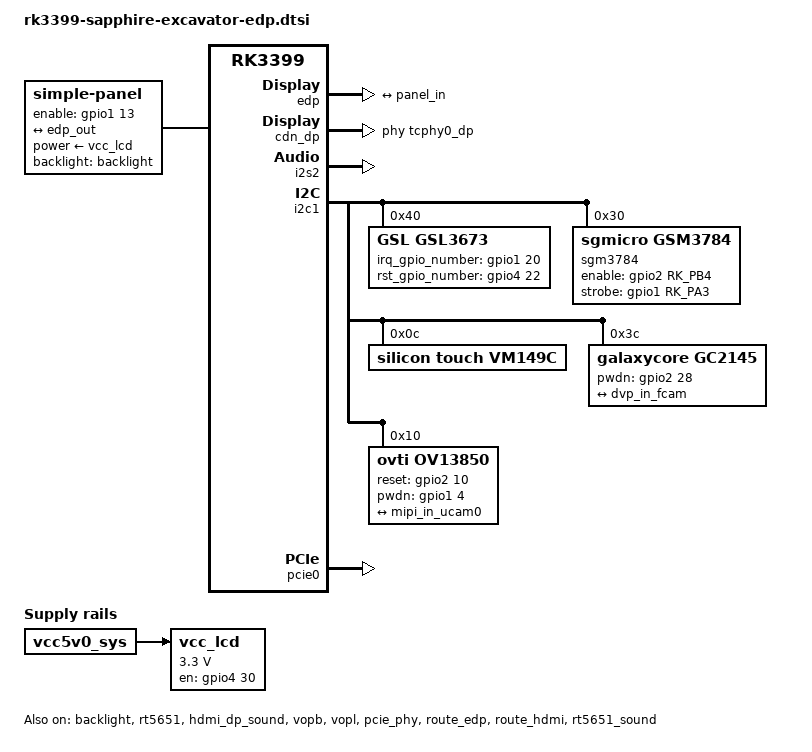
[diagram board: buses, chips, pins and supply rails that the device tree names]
/*
 * Copyright (c) 2018 Fuzhou Rockchip Electronics Co., Ltd
 *
 * This file is dual-licensed: you can use it either under the terms
 * of the GPL or the X11 license, at your option. Note that this dual
 * licensing only applies to this file, and not this project as a
 * whole.
 *
 *  a) This file is free software; you can redistribute it and/or
 *     modify it under the terms of the GNU General Public License as
 *     published by the Free Software Foundation; either version 2 of the
 *     License, or (at your option) any later version.
 *
 *     This file is distributed in the hope that it will be useful,
 *     but WITHOUT ANY WARRANTY; without even the implied warranty of
 *     MERCHANTABILITY or FITNESS FOR A PARTICULAR PURPOSE.  See the
 *     GNU General Public License for more details.
 *
 * Or, alternatively,
 *
 *  b) Permission is hereby granted, free of charge, to any person
 *     obtaining a copy of this software and associated documentation
 *     files (the "Software"), to deal in the Software without
 *     restriction, including without limitation the rights to use,
 *     copy, modify, merge, publish, distribute, sublicense, and/or
 *     sell copies of the Software, and to permit persons to whom the
 *     Software is furnished to do so, subject to the following
 *     conditions:
 *
 *     The above copyright notice and this permission notice shall be
 *     included in all copies or substantial portions of the Software.
 *
 *     THE SOFTWARE IS PROVIDED "AS IS", WITHOUT WARRANTY OF ANY KIND,
 *     EXPRESS OR IMPLIED, INCLUDING BUT NOT LIMITED TO THE WARRANTIES
 *     OF MERCHANTABILITY, FITNESS FOR A PARTICULAR PURPOSE AND
 *     NONINFRINGEMENT. IN NO EVENT SHALL THE AUTHORS OR COPYRIGHT
 *     HOLDERS BE LIABLE FOR ANY CLAIM, DAMAGES OR OTHER LIABILITY,
 *     WHETHER IN AN ACTION OF CONTRACT, TORT OR OTHERWISE, ARISING
 *     FROM, OUT OF OR IN CONNECTION WITH THE SOFTWARE OR THE USE OR
 *     OTHER DEALINGS IN THE SOFTWARE.
 */

/dts-v1/;

#include "rk3399-excavator-sapphire.dtsi"
#include "rk3399-android.dtsi"
#include "rk3399-vop-clk-set.dtsi"

/ {
	vcc_lcd: vcc-lcd {
		compatible = "regulator-fixed";
		regulator-name = "vcc_lcd";
		gpio = <&gpio4 30 GPIO_ACTIVE_HIGH>;
		startup-delay-us = <20000>;
		enable-active-high;
		regulator-min-microvolt = <3300000>;
		regulator-max-microvolt = <3300000>;
		regulator-boot-on;
		vin-supply = <&vcc5v0_sys>;
	};

	panel: panel {
		compatible = "simple-panel";
		backlight = <&backlight>;
		power-supply = <&vcc_lcd>;
		enable-gpios = <&gpio1 13 GPIO_ACTIVE_HIGH>;
		prepare-delay-ms = <20>;
		enable-delay-ms = <20>;

		display-timings {
			native-mode = <&timing0>;

			timing0: timing0 {
				clock-frequency = <200000000>;
				hactive = <1536>;
				vactive = <2048>;
				hfront-porch = <12>;
				hsync-len = <16>;
				hback-porch = <48>;
				vfront-porch = <8>;
				vsync-len = <4>;
				vback-porch = <8>;
				hsync-active = <0>;
				vsync-active = <0>;
				de-active = <0>;
				pixelclk-active = <0>;
			};
		};

		ports {
			panel_in: endpoint {
				remote-endpoint = <&edp_out>;
			};
		};
	};

	test-power {
		status = "okay";
	};

	hdmiin_sound: hdmiin-sound {
		compatible = "rockchip,rockchip-rt5651-sound";
		rockchip,cpu = <&i2s0>;
		rockchip,codec = <&rt5651 &rt5651>;
		status = "okay";
	};
};

&backlight {
	status = "okay";
	enable-gpios = <&gpio4 29 GPIO_ACTIVE_HIGH>;
};

&edp {
	status = "okay";
	force-hpd;

	ports {
		port@1 {
			reg = <1>;

			edp_out: endpoint {
				remote-endpoint = <&panel_in>;
			};
		};
	};
};

&edp_in_vopl {
	status = "disabled";
};

&hdmi_in_vopb {
	status = "disabled";
};

&rt5651 {
	status = "okay";
};

&cdn_dp {
	status = "okay";
	extcon = <&fusb0>;
	phys = <&tcphy0_dp>;
};

&hdmi_dp_sound {
	status = "okay";
};

&hdmiin_sound {
	status = "disabled";
};

&dp_in_vopb {
	status = "disabled";
};

&i2s2 {
	status = "okay";
};

&i2c1 {
	status = "okay";

	gsl3673: gsl3673@40 {
		compatible = "GSL,GSL3673";
		reg = <0x40>;
		screen_max_x = <1536>;
		screen_max_y = <2048>;
		irq_gpio_number = <&gpio1 20 IRQ_TYPE_LEVEL_LOW>;
		rst_gpio_number = <&gpio4 22 GPIO_ACTIVE_HIGH>;
	};

	sgm3784: sgm3784@30 {
		#address-cells = <1>;
		#size-cells = <0>;
		compatible = "sgmicro,gsm3784";
		reg = <0x30>;
		rockchip,camera-module-index = <0>;
		rockchip,camera-module-facing = "back";
		enable-gpio = <&gpio2 RK_PB4 GPIO_ACTIVE_HIGH>;
		strobe-gpio = <&gpio1 RK_PA3 GPIO_ACTIVE_HIGH>;
		status = "okay";
		sgm3784_led0: led@0 {
			reg = <0x0>;
			led-max-microamp = <299200>;
			flash-max-microamp = <1122000>;
			flash-max-timeout-us = <1600000>;
		};

		sgm3784_led1: led@1 {
			reg = <0x1>;
			led-max-microamp = <299200>;
			flash-max-microamp = <1122000>;
			flash-max-timeout-us = <1600000>;
		};
	};

	tc358749x: tc358749x@0f {
		compatible = "toshiba,tc358749x";
		reg = <0x0f>;
		power-gpios = <&gpio2 6 GPIO_ACTIVE_HIGH>;
		power18-gpios = <&gpio2 9 GPIO_ACTIVE_HIGH>;
		power33-gpios = <&gpio2 5 GPIO_ACTIVE_HIGH>;
		csi-ctl-gpios = <&gpio2 10 GPIO_ACTIVE_HIGH>;
		stanby-gpios = <&gpio2 8 GPIO_ACTIVE_HIGH>;
		reset-gpios = <&gpio2 7 GPIO_ACTIVE_HIGH>;
		int-gpios = <&gpio2 12 GPIO_ACTIVE_HIGH>;
		pinctrl-names = "default";
		pinctrl-0 = <&hdmiin_gpios>;
		status = "disabled";
	};

	vm149c: vm149c@0c {
		compatible = "silicon touch,vm149c";
		status = "okay";
		reg = <0x0c>;
		rockchip,camera-module-index = <0>;
		rockchip,camera-module-facing = "back";
	};

	gc2145: gc2145@3c{
		status = "okay";
		compatible = "galaxycore,gc2145";
		reg = <0x3c>;
		pinctrl-names = "default";
		pinctrl-0 = <&cif_clkout>;

		clocks = <&cru SCLK_CIF_OUT>;
		clock-names = "xvclk";

		/* avdd-supply = <>; */
		/* dvdd-supply = <>; */
		/* dovdd-supply = <>; */
		pwdn-gpios = <&gpio2 28 GPIO_ACTIVE_HIGH>;	//ok
		rockchip,camera-module-index = <1>;
		rockchip,camera-module-facing = "front";
		rockchip,camera-module-name = "CameraKing";
		rockchip,camera-module-lens-name = "Largan";
		port {
			gc2145_out: endpoint {
				remote-endpoint = <&dvp_in_fcam>;
			};
		};
	};

	vm149c: vm149c@0c {
		compatible = "silicon touch,vm149c";
		status = "okay";
		reg = <0x0c>;
		rockchip,camera-module-index = <0>;
		rockchip,camera-module-facing = "back";
	};

	ov13850: ov13850@10 {
		compatible = "ovti,ov13850";
		status = "okay";
		reg = <0x10>;
		clocks = <&cru SCLK_CIF_OUT>;
		clock-names = "xvclk";
		/* avdd-supply = <>; */
		/* dvdd-supply = <>; */
		/* dovdd-supply = <>; */
		/* reset-gpios = <>; */
		reset-gpios = <&gpio2 10 GPIO_ACTIVE_HIGH>; // conflict with csi-ctl-gpios
		pwdn-gpios = <&gpio1 4 GPIO_ACTIVE_HIGH>;
		pinctrl-names = "rockchip,camera_default";
		pinctrl-0 = <&cif_clkout>;

		rockchip,camera-module-index = <0>;
		rockchip,camera-module-facing = "back";
		rockchip,camera-module-name = "CMK-CT0116";
		rockchip,camera-module-lens-name = "Largan-50013A1";
		lens-focus = <&vm149c>;
		flash-leds = <&sgm3784_led0 &sgm3784_led1>;

		port {
			ucam_out0: endpoint {
				remote-endpoint = <&mipi_in_ucam0>;
				//remote-endpoint = <&mipi_in_ucam1>;
				data-lanes = <1 2>;
			};
		};
	};

	ov4689: ov4689@36 {
		compatible = "ovti,ov4689";
		status = "disabled";
		reg = <0x36>;
		clocks = <&cru SCLK_CIF_OUT>;
		clock-names = "xvclk";
		/* avdd-supply = <>; */
		/* dvdd-supply = <>; */
		/* dovdd-supply = <>; */
		/* reset-gpios = <>; */
		pwdn-gpios = <&gpio4 29 GPIO_ACTIVE_HIGH>; // conflict with backlight
		pinctrl-names = "rockchip,camera_default";
		pinctrl-0 = <&cif_clkout>;
		rockchip,camera-module-index = <1>;
		rockchip,camera-module-facing = "front";
		rockchip,camera-module-name = "JSD3425-C1";
		rockchip,camera-module-lens-name = "JSD3425-C1";
		port {
			ucam_out1: endpoint {
				//remote-endpoint = <&mipi_in_ucam0>;
				remote-endpoint = <&mipi_in_ucam1>;
				data-lanes = <1 2>;
			};
		};
	};
};

&i2c6 {
	cw2015@62 {
		status = "disabled";
		compatible = "cw201x";
		reg = <0x62>;
		bat_config_info = <0x15 0x42 0x60 0x59 0x52 0x58 0x4D 0x48
				   0x48 0x44 0x44 0x46 0x49 0x48 0x32 0x24
				   0x20 0x17 0x13 0x0F 0x19 0x3E 0x51 0x45
				   0x08 0x76 0x0B 0x85 0x0E 0x1C 0x2E 0x3E
				   0x4D 0x52 0x52 0x57 0x3D 0x1B 0x6A 0x2D
				   0x25 0x43 0x52 0x87 0x8F 0x91 0x94 0x52
				   0x82 0x8C 0x92 0x96 0xFF 0x7B 0xBB 0xCB
				   0x2F 0x7D 0x72 0xA5 0xB5 0xC1 0x46 0xAE>;
		monitor_sec = <5>;
		virtual_power = <0>;
	};
};

&isp0_mmu {
	status = "okay";
};

&isp1_mmu {
	status = "okay";
};

&mipi_dphy_rx0 {
	status = "disabled";

	ports {
		#address-cells = <1>;
		#size-cells = <0>;

		port@0 {
			reg = <0>;
			#address-cells = <1>;
			#size-cells = <0>;

			mipi_in_ucam0: endpoint@1 {
				reg = <1>;
				remote-endpoint = <&ucam_out0>;
				data-lanes = <1 2>;
			};
		};

		port@1 {
			reg = <1>;
			#address-cells = <1>;
			#size-cells = <0>;

			dphy_rx0_out: endpoint@0 {
				reg = <0>;
				remote-endpoint = <&isp0_mipi_in>;
			};
		};
	};
};

&mipi_dphy_tx1rx1 {
	status = "disabled";

	ports {
		#address-cells = <1>;
		#size-cells = <0>;

		port@0 {
			reg = <0>;
			#address-cells = <1>;
			#size-cells = <0>;

			mipi_in_ucam1: endpoint@1 {
				reg = <1>;
				remote-endpoint = <&ucam_out1>;
				data-lanes = <1 2>;
			};
		};

		port@1 {
			reg = <1>;
			#address-cells = <1>;
			#size-cells = <0>;

			dphy_tx1rx1_out: endpoint@0 {
				reg = <0>;
				remote-endpoint = <&isp1_mipi_in>;
			};
		};
	};
};

&vopb {
	status = "okay";
	assigned-clocks = <&cru DCLK_VOP0_DIV>;
	assigned-clock-parents = <&cru PLL_CPLL>;
};

&vopl {
	status = "okay";
	assigned-clocks = <&cru DCLK_VOP1_DIV>;
	assigned-clock-parents = <&cru PLL_VPLL>;
};

&pcie_phy {
	status = "okay";
};

&pcie0 {
	status = "okay";
};

&rkisp1_0 {
	status = "disabled";

	port {
		#address-cells = <1>;
		#size-cells = <0>;

		isp0_mipi_in: endpoint@0 {
			reg = <0>;
			remote-endpoint = <&dphy_rx0_out>;
		};
	};
};

&rkisp1_1 {
	status = "disabled";

	port {
		#address-cells = <1>;
		#size-cells = <0>;

		isp1_mipi_in: endpoint@0 {
			reg = <0>;
			remote-endpoint = <&dphy_tx1rx1_out>;
		};
		dvp_in_fcam: endpoint@1 {
			reg = <1>;
			remote-endpoint = <&gc2145_out>;
		};
	};
};

&route_edp {
	status = "okay";
};

&route_hdmi {
	status = "okay";
	connect = <&vopl_out_hdmi>;
};

&rt5651_sound {
	status = "okay";
};

&pinctrl {
	lcd-panel {
		lcd_panel_reset: lcd-panel-reset {
			rockchip,pins = <4 RK_PD6 RK_FUNC_GPIO &pcfg_pull_up>;
		};
	};

	hdmiin {
		hdmiin_gpios: hdmiin_gpios {
		rockchip,pins =
				<2 RK_PA5 RK_FUNC_GPIO &pcfg_pull_none>,
				<2 RK_PA6 RK_FUNC_GPIO &pcfg_pull_none>,
				<2 RK_PA7 RK_FUNC_GPIO &pcfg_pull_none>,
				<2 RK_PB0 RK_FUNC_GPIO &pcfg_pull_none>,
				<2 RK_PB1 RK_FUNC_GPIO &pcfg_pull_none>,
				<2 RK_PB4 RK_FUNC_GPIO &pcfg_pull_none>;
		};
	};
};

